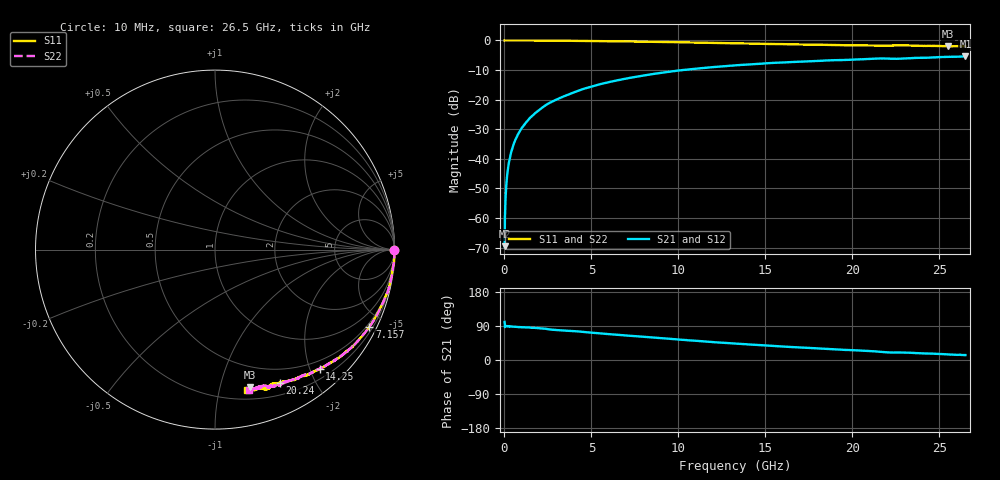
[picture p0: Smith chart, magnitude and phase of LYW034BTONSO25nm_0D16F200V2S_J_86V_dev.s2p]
!Keysight Technologies,N5222B,MY61253708,A.15.00.15
!Date: Wednesday, June 19, 2024 09:28:44
!Correction: S11(C  2-Port  )
!S21(C  2-Port  )
!S12(C  2-Port  )
!S22(C  2-Port  )
!S2P File: Measurements: S11, S21, S12, S22:
# Hz S  RI  R 50
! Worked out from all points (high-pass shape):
!   2651 points, 10 MHz to 26.5 GHz, reference 50 ohm
!   highest |S21| = -5.37 dB at 26.5 GHz (marker M1); lowest = -69.5 dB at 10 MHz (marker M2)
!   |S21| within 3 dB of the highest: 13.39 GHz to end of sweep
!   lowest |S11| = -2.0 dB at 25.5 GHz (marker M3), VSWR 8.64, Z = 15 - j62.1 ohm
!   |S11| at or under -10 dB: nowhere
!   |S22| runs from -1.9 to 0.0 dB; largest |S21 - S12| = 0.0069
!   S11 on the Smith chart (normalised r, x): 10 MHz: open; 7.157 GHz: 0.37, -4.21; 14.25 GHz: 0.35, -2.16; 20.24 GHz: 0.33, -1.55; 26.5 GHz: 0.28, -1.21
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1e7  0.9987 -0.00247  -6.1e-05 0.000328  -4.32e-05 0.000534  0.9986 -0.000948
7.997358e7  0.9999 -0.0058  8.49e-06 0.00266  3.73e-05 0.00266  0.9993 -0.00528
1.599434e8  0.9998 -0.0115  7.74e-05 0.00536  5.36e-05 0.0054  0.9996 -0.0107
1.999283e8  0.9999 -0.0139  0.000102 0.00668  0.000109 0.00675  0.9997 -0.013
2.599057e8  0.9996 -0.018  0.000163 0.00865  0.000186 0.00879  0.9994 -0.0171
3.598679e8  0.9993 -0.0249  0.000279 0.012  0.000274 0.0121  0.9994 -0.0241
4.898189e8  0.9989 -0.0335  0.00057 0.0163  0.000566 0.0165  0.9987 -0.0322
6.497585e8  0.9984 -0.0439  0.000932 0.0216  0.000937 0.0218  0.9985 -0.0426
8.396868e8  0.9979 -0.0565  0.00152 0.0278  0.00158 0.0281  0.9978 -0.0558
1.459453e9  0.9903 -0.0993  0.00372 0.0487  0.00379 0.049  0.9929 -0.0949
2.329125e9  0.9813 -0.1531  0.0102 0.0784  0.0104 0.079  0.9827 -0.153
3.208792e9  0.9695 -0.2096  0.0216 0.1049  0.0218 0.1056  0.97 -0.208
4.428332e9  0.941 -0.283  0.0392 0.1427  0.0397 0.1437  0.9433 -0.2793
7.157302e9  0.8602 -0.4291  0.101 0.2081  0.1025 0.2091  0.8633 -0.4265
8.846664e9  0.7988 -0.5048  0.1471 0.2377  0.1489 0.2384  0.8015 -0.5019
1.3255e10  0.6212 -0.6437  0.2751 0.2609  0.2778 0.2605  0.6269 -0.6411
1.425462e10  0.5826 -0.6654  0.3011 0.257  0.3036 0.2569  0.5884 -0.662
1.767333e10  0.4483 -0.7207  0.381 0.2319  0.3849 0.23  0.4613 -0.7181
2.024236e10  0.3607 -0.7441  0.4317 0.2034  0.4347 0.2011  0.3777 -0.7427
2.209166e10  0.3135 -0.7516  0.463 0.1693  0.4651 0.166  0.3102 -0.7584
2.550038e10  0.1953 -0.7681  0.5114 0.1324  0.5131 0.1316  0.218 -0.7723
2.65e10  0.1762 -0.7826  0.5249 0.1212  0.5245 0.117  0.1915 -0.7821
